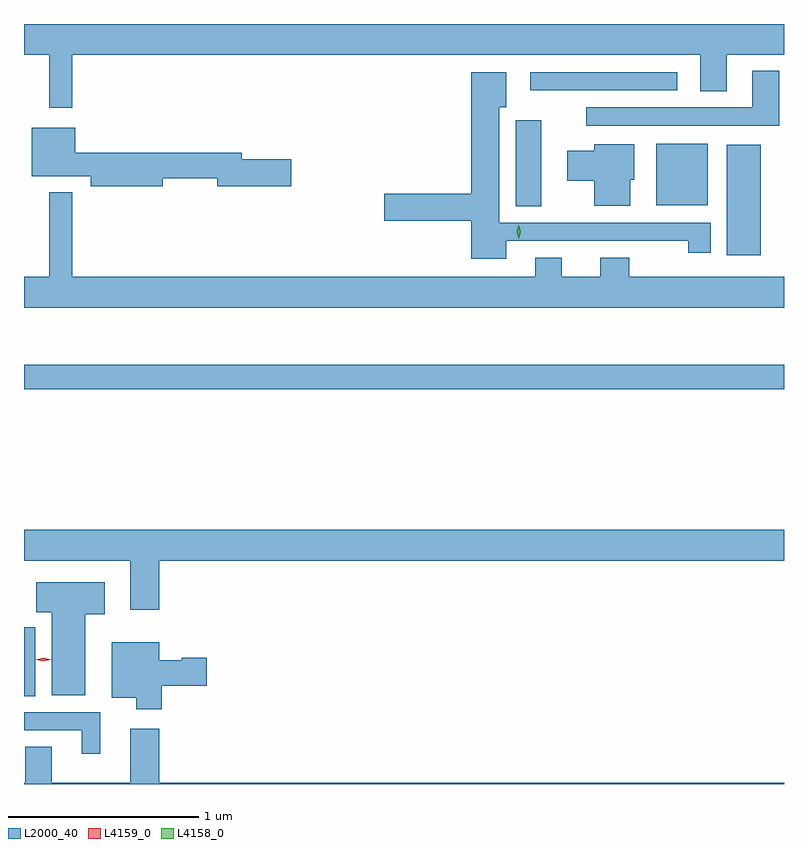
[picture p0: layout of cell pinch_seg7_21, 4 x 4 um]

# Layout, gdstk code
import gdstk
lib = gdstk.Library(unit=1e-6, precision=1e-09)
def R(c, l, rs):  # rectangles x0, y0, x1, y1
    for r in rs: c.add(gdstk.rectangle(r[:2], r[2:], *l))
def P(c, l, *ps):  # polygons
    for p in ps: c.add(gdstk.Polygon(p, *l))
L2000_40 = (2000, 40)
L4158_0 = (4158, 0)
L4159_0 = (4159, 0)

pinch_seg7_21 = lib.new_cell('pinch_seg7_21')
R(pinch_seg7_21, L2000_40, [(1017.473,1061.176,1017.532,1061.537), (1017.473,1062.79,1021.473,1062.919), (1021.172,1063.496,1021.351,1064.077), (1020.062,1063.753,1020.196,1064.206), (1020.8,1063.76,1021.072,1064.083), (1020.138,1064.364,1020.91,1064.46)])
P(pinch_seg7_21, L2000_40, [(1017.473,1064.552),(1017.605,1064.552),(1017.605,1064.271),(1017.727,1064.271),(1017.727,1064.552),(1021.031,1064.552),(1021.031,1064.359),(1021.171,1064.359),(1021.171,1064.552),(1021.473,1064.552),(1021.473,1064.713),(1017.473,1064.713)],
  [(1021.447,1064.467),(1021.307,1064.467),(1021.307,1064.274),(1020.432,1064.274),(1020.432,1064.178),(1021.447,1064.178)],
  [(1020.01,1063.572),(1020.742,1063.572),(1020.742,1063.571),(1020.97,1063.571),(1020.97,1063.509),(1021.087,1063.509),(1021.087,1063.668),(1019.974,1063.668),(1019.974,1064.276),(1020.01,1064.276),(1020.01,1064.458),(1019.828,1064.458),(1019.828,1063.82),(1019.37,1063.82),(1019.37,1063.678),(1019.828,1063.678),(1019.828,1063.478),(1020.01,1063.478)],
  [(1018.204,1063.9),(1018.49,1063.9),(1018.49,1063.858),(1018.879,1063.858),(1018.879,1064),(1018.618,1064),(1018.618,1064.036),(1017.742,1064.036),(1017.742,1064.167),(1017.515,1064.167),(1017.515,1063.913),(1017.824,1063.913),(1017.824,1063.858),(1018.204,1063.858)],
  [(1020.664,1063.893),(1020.685,1063.893),(1020.685,1064.08),(1020.473,1064.08),(1020.473,1064.047),(1020.333,1064.047),(1020.333,1063.889),(1020.473,1063.889),(1020.473,1063.757),(1020.664,1063.757)],
  [(1021.473,1063.384),(1020.659,1063.384),(1020.659,1063.483),(1020.506,1063.483),(1020.506,1063.384),(1020.304,1063.384),(1020.304,1063.483),(1020.164,1063.483),(1020.164,1063.384),(1017.727,1063.384),(1017.727,1063.828),(1017.605,1063.828),(1017.605,1063.384),(1017.473,1063.384),(1017.473,1063.22),(1021.473,1063.22)],
  [(1018.184,1061.888),(1021.473,1061.888),(1021.473,1062.052),(1017.473,1062.052),(1017.473,1061.888),(1018.031,1061.888),(1018.031,1061.631),(1018.184,1061.631)],
  [(1017.796,1061.606),(1017.898,1061.606),(1017.898,1061.776),(1017.538,1061.776),(1017.538,1061.618),(1017.62,1061.618),(1017.62,1061.18),(1017.796,1061.18)],
  [(1018.199,1061.231),(1018.435,1061.231),(1018.435,1061.378),(1018.302,1061.378),(1018.302,1061.365),(1018.186,1061.365),(1018.186,1061.458),(1017.935,1061.458),(1017.935,1061.168),(1018.064,1061.168),(1018.064,1061.106),(1018.199,1061.106)],
  [(1017.874,1061.091),(1017.473,1061.091),(1017.473,1060.995),(1017.776,1060.995),(1017.776,1060.872),(1017.874,1060.872)],
  [(1021.473,1060.72),(1018.184,1060.72),(1018.184,1061.005),(1018.031,1061.005),(1018.031,1060.72),(1017.619,1060.72),(1017.619,1060.91),(1017.479,1060.91),(1017.479,1060.72),(1017.473,1060.72),(1017.473,1060.713),(1021.473,1060.713)])
P(pinch_seg7_21, L4158_0, [(1020.078,1063.583),(1020.078,1063.583),(1020.067,1063.619),(1020.076,1063.655),(1020.076,1063.655),(1020.077,1063.655),(1020.087,1063.619),(1020.078,1063.583)])
P(pinch_seg7_21, L4159_0, [(1017.575,1061.358),(1017.535,1061.367),(1017.535,1061.368),(1017.535,1061.368),(1017.575,1061.378),(1017.616,1061.368),(1017.616,1061.368),(1017.616,1061.368)])

lib.write_gds('pinch_seg7_21.gds')
